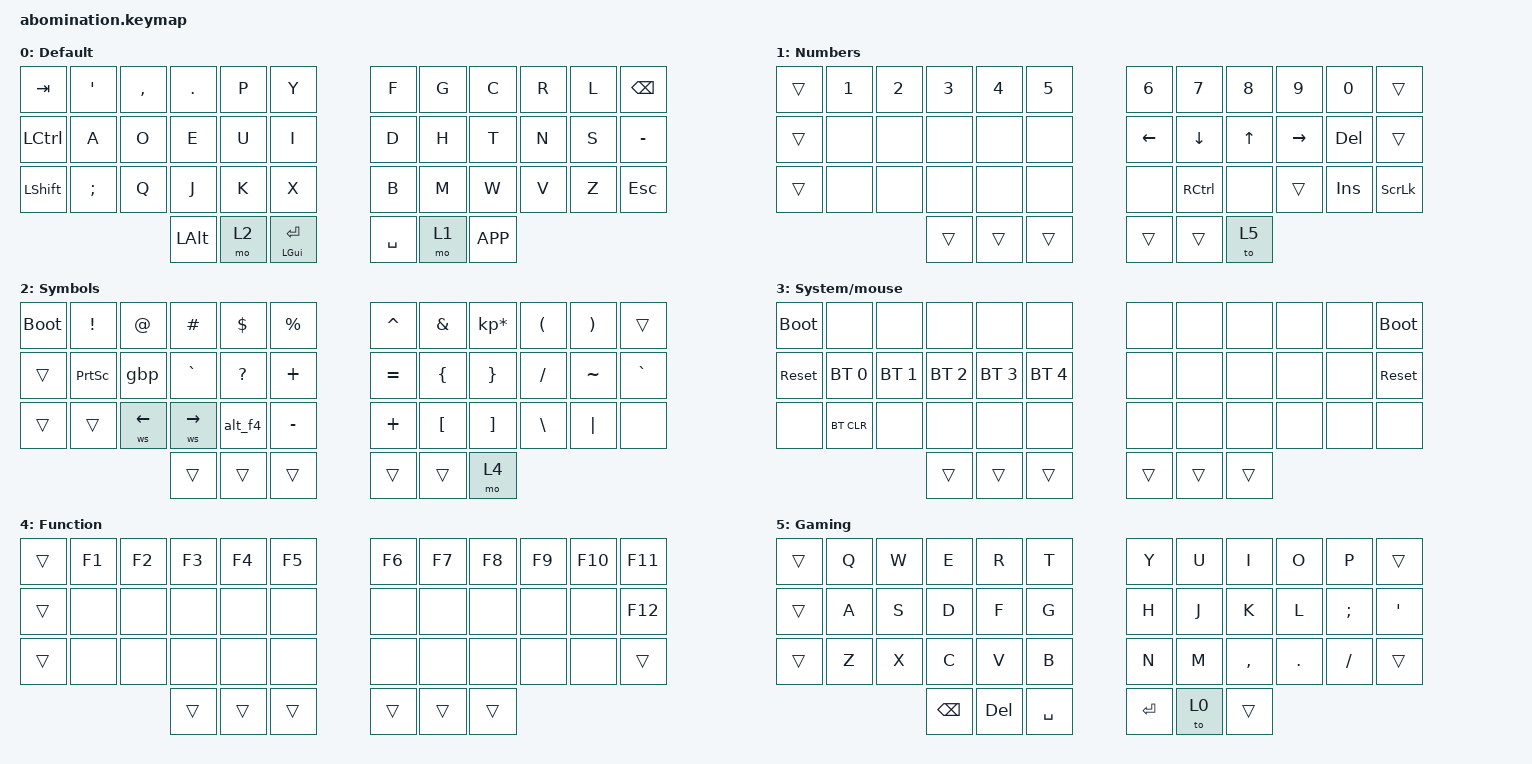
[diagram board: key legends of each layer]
/*
 * Copyright (c) 2020 The ZMK Contributors
 *
 * SPDX-License-Identifier: MIT
 */

#include <behaviors.dtsi>
#include <dt-bindings/zmk/keys.h>
#include <dt-bindings/zmk/bt.h>

/ {
    conditional_layers {
        compatible = "zmk,conditional-layers";
        tri_layer {
            if-layers = <1 2>;
            then-layer = <3>;
        };
    };

    macros {
        ws: workspace_shift {
            label = "ZM_workspace_shift";
            compatible = "zmk,behavior-macro-one-param";
            #binding-cells = <1>;
            bindings
                = <&macro_press &kp LCTRL &kp K_APP>
                , <&macro_param_1to1>
                , <&macro_tap &kp MACRO_PLACEHOLDER>
                , <&macro_release &kp LCTRL &kp K_APP>
                ;
        };

        alt_f4: alt_f4 {
            label = "ZM_alt_f4";
            compatible = "zmk,behavior-macro";
            #binding-cells = <0>;
            bindings
                = <&macro_press &kp LALT>
                , <&macro_tap &kp F4>
                , <&macro_release &kp LALT>
                ;
        };

        gbp: gbp_symbol {
            label = "ZM_gbp_symbol";
            compatible = "zmk,behavior-macro";
            #binding-cells = <0>;
            bindings
                = <&macro_press &kp LALT>
                , <&macro_tap &kp KP_N1>
                , <&macro_tap &kp KP_N5>
                , <&macro_tap &kp KP_N6>
                , <&macro_release &kp LALT>
                ;
        };
    };

    keymap {
        compatible = "zmk,keymap";

        default_layer {
// -----------------------------------------------------------------------------------------
// |  TAB |  '  |  ,  |  .  |  P  |  Y  |   |  F  |  G   |  C  |  R  |  L  | BKSP |
// | CTRL |  A  |  O  |  E  |  U  |  I  |   |  D  |  H   |  T  |  N  |  S  |  -   |
// | SHFT |  ;  |  Q  |  J  |  K  |  X  |   |  B  |  M   |  W  |  V  |  Z  | ESC  |
//                    | ALT | SYM | ENT |   | SPC | NUM  | APP |
            bindings = <
    &kp TAB   &kp SQT  &kp COMMA &kp DOT  &kp P &kp Y         &kp F     &kp G &kp C &kp R &kp L &kp BSPC
    &kp LCTRL &kp A    &kp O     &kp E    &kp U &kp I         &kp D     &kp H &kp T &kp N &kp S &kp MINUS
    &kp LSHFT &kp SEMI &kp Q     &kp J    &kp K &kp X         &kp B     &kp M &kp W &kp V &kp Z &kp ESC
                                 &kp LALT &mo 2 &mt LGUI RET  &kp SPACE &mo 1 &kp K_APP
            >;
            label = "Default";
        };

        number_layer {
// -----------------------------------------------------------------------------------------
// |  TAB |  1  |  2  |  3  |  4  |  5  |   |  6  |  7  |  8  |  9  |  0  | BKSP |
// | BTCLR| BT1 | BT2 | BT3 | BT4 | BT5 |   | LFT | DWN |  UP | RGT | DEL |      |
// | SHFT |     |     |     |     |     |   |     |     |     |     | INS | SLCK |
//                    |     |     |     |   |     |     | GAM |
            bindings = <
    &trans &kp N1 &kp N2 &kp N3   &kp N4  &kp N5   &kp N6   &kp N7    &kp N8 &kp N9    &kp N0  &trans
    &trans &none  &none  &none    &none   &none    &kp LEFT &kp DOWN  &kp UP &kp RIGHT &kp DEL &trans
    &trans &none  &none  &none    &none   &none    &none    &kp RCTRL &none  &trans    &kp INS &kp SLCK
                         &trans   &trans  &trans   &trans   &trans    &to 5
            >;
            label = "Numbers";
        };

        symbol_layer {
// -----------------------------------------------------------------------------------------
// |  TAB |  !  |  @  |  #  |  $  |  %  |   |  ^  |  &  |  *  |  (  |  )  | BKSP |
// | CTRL |     |     |     |     |     |   |  -  |  =  |  [  |  ]  |  \  |  `   |
// | SHFT |     |     |     |     |     |   |  _  |  +  |  {  |  }  | "|" |  ~   |
//                    | GUI |     | SPC |   | ENT |     | ALT |
            bindings = <
    &bootloader &kp EXCL  &kp AT   &kp HASH  &kp DLLR     &kp PRCNT   &kp CARET &kp AMPS &kp KP_MULTIPLY &kp LPAR  &kp RPAR  &trans
    &trans      &kp PSCRN &gbp     &kp GRAVE &kp QUESTION &kp PLUS    &kp EQUAL &kp LBRC &kp RBRC        &kp SLASH &kp TILDE &kp GRAVE
    &trans      &trans    &ws LEFT &ws RIGHT &alt_f4      &kp MINUS   &kp PLUS  &kp LBKT &kp RBKT        &kp BSLH  &kp PIPE  &none
                                   &trans    &trans       &trans      &trans    &trans   &mo 4
            >;
            label = "Symbols";
        };

        system_mouse_layer {
            bindings = <
    &bootloader &none        &none        &none        &none        &none          &none  &none  &none &none &none &bootloader
    &sys_reset  &bt BT_SEL 0 &bt BT_SEL 1 &bt BT_SEL 2 &bt BT_SEL 3 &bt BT_SEL 4   &none  &none  &none &none &none &sys_reset
    &none       &bt BT_CLR   &none        &none        &none        &none          &none  &none  &none &none &none &none
                                          &trans       &trans       &trans         &trans &trans &trans
            >;
            label = "System/mouse";
        };

        function_layer {
                bindings = <
    &trans &kp F1 &kp F2 &kp F3 &kp F4 &kp F5   &kp F6 &kp F7 &kp F8 &kp F9 &kp F10 &kp F11
    &trans &none  &none  &none  &none  &none    &none  &none  &none  &none  &none   &kp F12
    &trans &none  &none  &none  &none  &none    &none  &none  &none  &none  &none   &trans
                         &trans &trans &trans   &trans &trans &trans
            >;
            label = "Function";
        };

        gaming_layer {
// -----------------------------------------------------------------------------------------
// |  TAB |  Q  |  W  |  E   |  R  |  T  |   |  Y  |  U   |  I  |  O  |  P  | BKSP |
// | CTRL |  A  |  S  |  D   |  F  |  G  |   |  H  |  J   |  K  |  L  |  ;  |  '   |
// | SHFT |  Z  |  X  |  C   |  V  |  B  |   |  N  |  M   |  ,  |  .  |  /  | ESC  |
//                    | BKSP | DEL | SPC |   | ENT | LAY0 | APP |
            bindings = <
    &trans &kp Q &kp W &kp E    &kp R   &kp T       &kp Y   &kp U &kp I     &kp O   &kp P    &trans
    &trans &kp A &kp S &kp D    &kp F   &kp G       &kp H   &kp J &kp K     &kp L   &kp SEMI &kp SQT
    &trans &kp Z &kp X &kp C    &kp V   &kp B       &kp N   &kp M &kp COMMA &kp DOT &kp FSLH &trans
                       &kp BSPC &kp DEL &kp SPACE   &kp RET &to 0 &trans
            >;
            label = "Gaming";
        };

//         bluetooth_layer {
// // -----------------------------------------------------------------------------------------
// // |  TAB |  !  |  @  |  #  |  $  |  %  |   |  ^  |  &  |  *  |  (  |  )  | BKSP |
// // | CTRL |     |     |     |     |     |   |  -  |  =  |  [  |  ]  |  \  |  `   |
// // | SHFT |     |     |     |     |     |   |  _  |  +  |  {  |  }  | "|" |  ~   |
// //                    | GUI |     | SPC |   | ENT |     | ALT |
//             bindings = <
//     &kp  TAB  &kp EXCL &kp AT &kp HASH &kp DLLR &kp PRCNT   &kp CARET &kp AMPS  &kp KP_MULTIPLY &kp LPAR &kp RPAR &kp BSPC
//     &kp LCTRL &trans   &trans &trans   &trans   &trans      &kp MINUS &kp EQUAL &kp LBKT        &kp RBKT &kp BSLH &kp GRAVE
//     &kp LSHFT &trans   &trans &trans   &trans   &trans      &kp UNDER &kp PLUS  &kp LBRC        &kp RBRC &kp PIPE &kp TILDE
//                              &kp LGUI &trans   &kp SPACE   &kp RET   &trans    &kp RALT
//             >;
//             label = "Bluetooth";
//         };
    };
};
